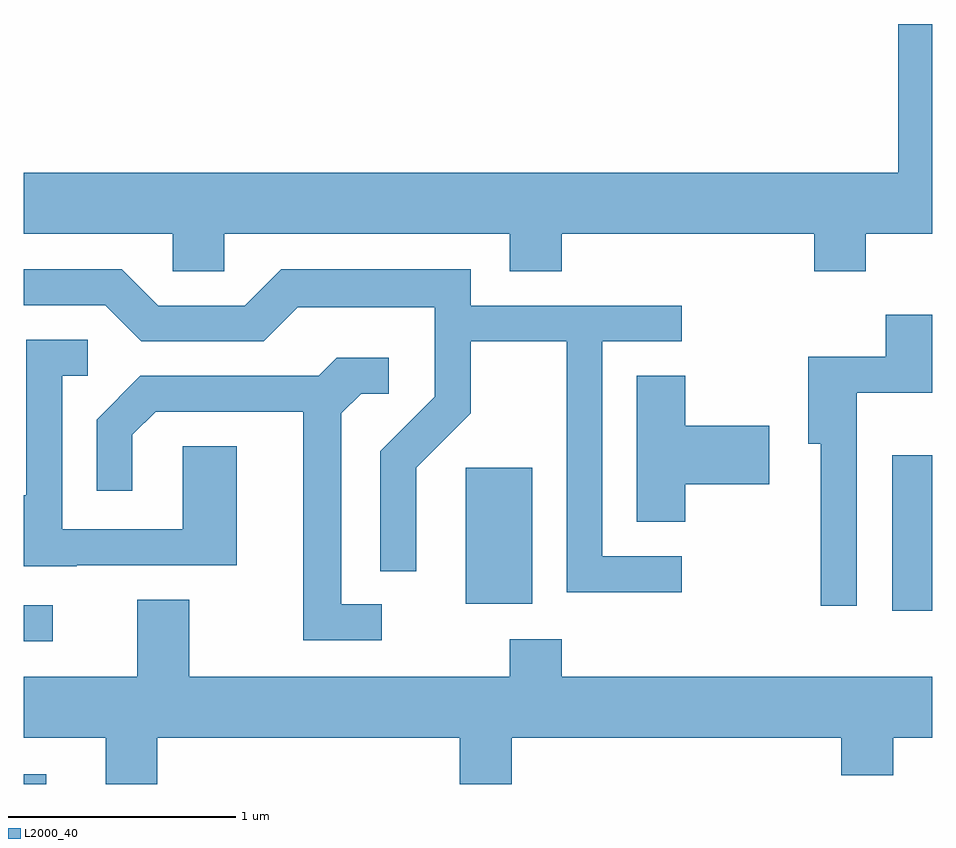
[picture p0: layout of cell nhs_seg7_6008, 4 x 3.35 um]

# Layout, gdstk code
import gdstk
lib = gdstk.Library(unit=1e-6, precision=1e-09)
def R(c, l, rs):  # rectangles x0, y0, x1, y1
    for r in rs: c.add(gdstk.rectangle(r[:2], r[2:], *l))
def P(c, l, *ps):  # polygons
    for p in ps: c.add(gdstk.Polygon(p, *l))
L2000_40 = (2000, 40)

nhs_seg7_6008 = lib.new_cell('nhs_seg7_6008')
R(nhs_seg7_6008, L2000_40, [(367.611,1796.252,367.709,1796.294), (367.611,1796.881,367.738,1797.039), (371.436,1797.016,371.611,1797.699), (369.556,1797.046,369.849,1797.644)])
P(nhs_seg7_6008, L2000_40, [(368.494,1798.676),(369.751,1798.676),(369.751,1798.511),(369.979,1798.511),(369.979,1798.676),(371.091,1798.676),(371.091,1798.511),(371.319,1798.511),(371.319,1798.676),(371.611,1798.676),(371.611,1799.599),(371.461,1799.599),(371.461,1798.944),(367.611,1798.944),(367.611,1798.676),(368.266,1798.676),(368.266,1798.511),(368.494,1798.511)],
  [(370.508,1797.254),(370.159,1797.254),(370.159,1798.201),(370.508,1798.201),(370.508,1798.359),(369.579,1798.359),(369.579,1798.519),(368.744,1798.519),(368.584,1798.359),(368.202,1798.359),(368.042,1798.519),(367.611,1798.519),(367.611,1798.361),(367.969,1798.361),(368.129,1798.201),(368.667,1798.201),(368.817,1798.351),(369.421,1798.351),(369.421,1797.957),(369.181,1797.717),(369.181,1797.188),(369.339,1797.188),(369.339,1797.644),(369.579,1797.884),(369.579,1798.201),(370.001,1798.201),(370.001,1797.096),(370.508,1797.096)],
  [(371.279,1797.976),(371.611,1797.976),(371.611,1798.319),(371.406,1798.319),(371.406,1798.134),(371.066,1798.134),(371.066,1797.751),(371.121,1797.751),(371.121,1797.038),(371.279,1797.038)],
  [(367.845,1797.216),(368.549,1797.216),(368.549,1797.739),(368.311,1797.739),(368.311,1797.374),(367.779,1797.374),(367.779,1798.051),(367.893,1798.051),(367.893,1798.209),(367.621,1798.209),(367.621,1797.524),(367.611,1797.524),(367.611,1797.211),(367.845,1797.211)],
  [(369.188,1797.044),(369.009,1797.044),(369.009,1797.884),(369.097,1797.971),(369.218,1797.971),(369.218,1798.129),(368.989,1798.129),(368.909,1798.049),(368.124,1798.049),(367.931,1797.857),(367.931,1797.543),(368.089,1797.543),(368.089,1797.789),(368.192,1797.891),(368.841,1797.891),(368.841,1796.886),(369.188,1796.886)],
  [(370.524,1797.571),(370.894,1797.571),(370.894,1797.829),(370.524,1797.829),(370.524,1798.049),(370.311,1798.049),(370.311,1797.406),(370.524,1797.406)],
  [(368.199,1796.456),(369.531,1796.456),(369.531,1796.252),(369.759,1796.252),(369.759,1796.456),(371.211,1796.456),(371.211,1796.291),(371.439,1796.291),(371.439,1796.456),(371.611,1796.456),(371.611,1796.724),(369.979,1796.724),(369.979,1796.889),(369.751,1796.889),(369.751,1796.724),(368.339,1796.724),(368.339,1797.064),(368.111,1797.064),(368.111,1796.724),(367.611,1796.724),(367.611,1796.456),(367.971,1796.456),(367.971,1796.252),(368.199,1796.252)])

lib.write_gds('nhs_seg7_6008.gds')
